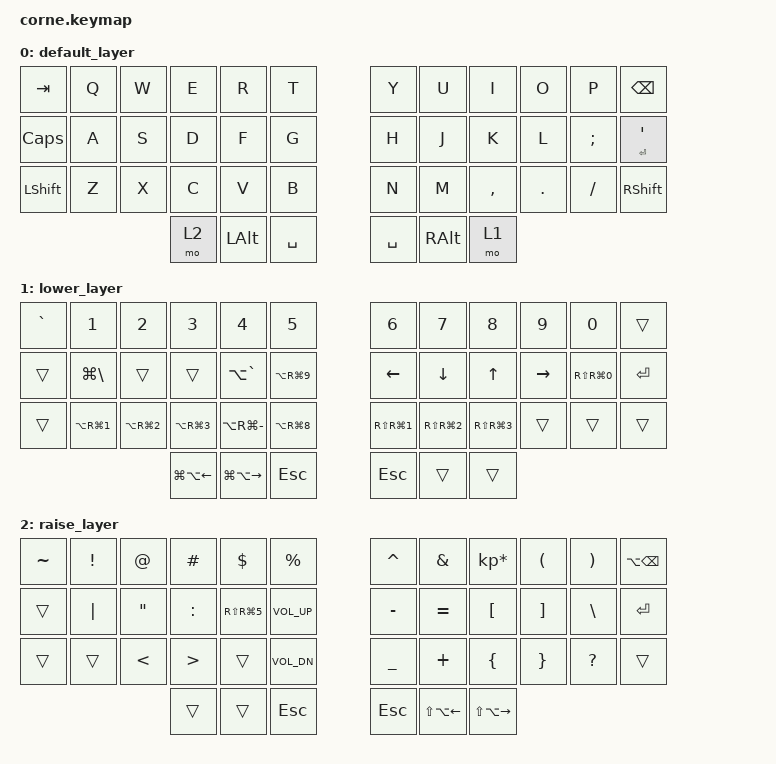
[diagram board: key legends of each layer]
/*
 * Copyright (c) 2020 The ZMK Contributors
 *
 * SPDX-License-Identifier: MIT
 */

#include <behaviors.dtsi>
#include <dt-bindings/zmk/keys.h>

/* ---------------------------------------------------------------------------
 * Chord shortcuts (yabai, driven by skhd on macOS).
 *
 * RG / RS = RIGHT cmd / RIGHT shift. Left vs right matters: skhd binds `rcmd`
 * and `rshift`, so LG / LS will NOT match these bindings.
 * ------------------------------------------------------------------------- */
#define RESIZE_UP        &kp LA(RG(N9))     // rcmd+lalt+9    window --resize top:0:-80
#define RESIZE_DOWN      &kp LA(RG(N8))     // rcmd+lalt+8    window --resize top:0:80
#define SPACE_FOCUS_1    &kp LA(RG(N1))     // cmd+alt+1      space --focus 1
#define SPACE_FOCUS_2    &kp LA(RG(N2))     // cmd+alt+2      space --focus 2
#define SPACE_FOCUS_3    &kp LA(RG(N3))     // cmd+alt+3      space --focus 3
#define TOGGLE_SPLIT     &kp LA(RG(MINUS))  // rcmd+lalt+-    window --toggle split
#define SEND_TO_SPACE_1  &kp RS(RG(N1))     // rshift+rcmd+1  window --space 1; space --focus 1
#define SEND_TO_SPACE_2  &kp RS(RG(N2))     // rshift+rcmd+2  window --space 2; space --focus 2
#define SEND_TO_SPACE_3  &kp RS(RG(N3))     // rshift+rcmd+3  window --space 3; space --focus 3
#define BALANCE_SPACE    &kp RS(RG(N0))     // rshift+rcmd+0  space --balance
#define SCREENSHOT       &kp RS(RG(N5))     // cmd+shift+5    screenshot toolbar (L2 + F)

/* Browser tab chords. These are LG / LS (LEFT cmd / shift) - the Karabiner
   caps_lock -> left_command rule is what supplies the cmd, and skhd is not
   involved, so RG / RS would be wrong here. */
#define ZOOM_FULLSCREEN  &kp LA(GRAVE)      // lalt+`         yabai zoom fullscreen
#define TAB_PREV         &kp LG(LA(LEFT))   // cmd+lalt+<-    previous browser tab
#define TAB_NEXT         &kp LG(LA(RIGHT))  // cmd+lalt+->    next browser tab
#define TAB_MOVE_LEFT    &kp LS(LA(LEFT))   // shift+lalt+<-  move browser tab left
#define TAB_MOVE_RIGHT   &kp LS(LA(RIGHT))  // shift+lalt+->  move browser tab right

/* Nothing binds &soft_off anymore, so these two tweaks are currently inert.
   They stay so the behavior is set up if you put a soft-off key back. */
&soft_off {
    hold-time-ms = <3000>; // Only turn off if the key is held for 3 seconds or longer.
};

&soft_off {
    /delete-property/ split-peripheral-off-on-press;
};

/* Only the base `'` cell uses &mt (&mt RET SQT), so this timing is free to set.
   require-prior-idle-ms = 150 makes a press right after any other key always
   tap, so in-word apostrophes (don't, it's) cannot fire Enter. */
&mt {
    flavor = "balanced";
    tapping-term-ms = <200>;
    quick-tap-ms = <150>;
    require-prior-idle-ms = <150>;
};

/* &trans is transparent, not inert: the press falls through to the next lower
   active layer and ends at the base layer. So a cell left as &trans on L1/L2
   still types its base key while the layer is held. */

/* No Bluetooth keys anywhere. The keyboard talks to one host (the Mac), so
   BT_SEL / BT_DISC / BT_CLR earned their cells back. Recovery after a host
   forget is settings_reset.uf2 + reflash both halves + re-pair. There is no
   in-keyboard way to clear a profile anymore - that is the trade. */

/ {
    keymap {
        compatible = "zmk,keymap";

        default_layer {
            // | TAB  |  Q  |  W  |  E  |  R  |  T  |   |  Y  |  U  |  I  |  O  |  P  | BKSP |
            // | CAPS |  A  |  S  |  D  |  F  |  G  |   |  H  |  J  |  K  |  L  |  ;  | '/RET|
            // | SHFT |  Z  |  X  |  C  |  V  |  B  |   |  N  |  M  |  ,  |  .  |  /  | RSFT |
            // |  L2  | LALT| SPC |   | SPC | RALT|  L1  |

            bindings = <
&kp TAB    &kp Q  &kp W  &kp E  &kp R  &kp T        &kp Y  &kp U  &kp I      &kp O    &kp P     &kp BSPC
&kp CAPS   &kp A  &kp S  &kp D  &kp F  &kp G        &kp H  &kp J  &kp K      &kp L    &kp SEMI  &mt RET SQT
&kp LSHFT  &kp Z  &kp X  &kp C  &kp V  &kp B        &kp N  &kp M  &kp COMMA  &kp DOT  &kp FSLH  &kp RSHIFT
                           &mo 2  &kp LALT  &kp SPACE    &kp SPACE  &kp RALT  &mo 1
            >;
        };

        lower_layer {
            // Numbers, remote control, yabai. Held by the RIGHT thumb; the left
            // hand does the typing. Left half never had a BT key worth keeping.
            //
            // | TAB  |  Q   |  W   |  E   |  R   |  T   |   |  Y   |  U   |  I   |  O   |  P   | BKSP |
            // |  `   |  1   |  2   |  3   |  4   |  5   |   |  6   |  7   |  8   |  9   |  0   |  BKSP|
            // | CAPS |  A   |  S   |  D   |  F   |  G   |   |  H   |  J   |  K   |  L   | ⇧⌘0  |  '/RET|
            // |  --  |  ⌘\  |  --  |  --  | zoom | ⌥⌘9  |   |  ←   |  ↓   |  ↑   |  →   |  --  |  RET  |
            // | SHFT |  Z   |  X   |  C   |  V   |  B   |   |  N   |  M   |  ,   |  .   |  /   | RSFT |
            // |  --  | ⌥⌘1  | ⌥⌘2  | ⌥⌘3  | ⌥⌘-  | ⌥⌘8  |   | ⇧⌘1  | ⇧⌘2  | ⇧⌘3  |  --  |  --  |  --   |
            // |  L2  | LALT | SPC  |   | SPC  | RALT |  L1  |
            // | tab← | tab→ | ESC  |   | ESC  |  --  |  --  |

            bindings = <
&kp GRAVE  &kp N1        &kp N2  &kp N3  &kp N4  &kp N5            &kp N6  &kp N7  &kp N8  &kp N9  &kp N0  &trans
&trans     &kp LG(BSLH)  &trans  &trans  ZOOM_FULLSCREEN  RESIZE_UP  &kp LEFT  &kp DOWN  &kp UP  &kp RIGHT  BALANCE_SPACE  &kp RET
&trans     SPACE_FOCUS_1 SPACE_FOCUS_2  SPACE_FOCUS_3  TOGGLE_SPLIT  RESIZE_DOWN  SEND_TO_SPACE_1  SEND_TO_SPACE_2  SEND_TO_SPACE_3  &trans  &trans  &trans
                                 TAB_PREV  TAB_NEXT  &kp ESC    &kp ESC  &trans  &trans
            >;
        };

        raise_layer {
            // Symbols, punctuation, media. Held by the LEFT thumb; the right
            // hand does the typing. Every shifted glyph has a literal cell here,
            // so Shift is only needed for capitals and selection.
            // Implicit-modifier keycodes (LT, GT, QUESTION, DQT, PIPE, TILDE,
            // COLON) carry their own shift internally - no physical Shift key.
            //
            // | TAB  |  Q   |  W   |  E   |  R   |  T   |   |  Y   |  U   |  I   |  O   |  P   | BKSP |
            // |  ~   |  !   |  @   |  #   |  $   |  %   |   |  ^   |  &   |  *   |  (   |  )   | ⌥BKSP|
            // | CAPS |  A   |  S   |  D   |  F   |  G   |   |  H   |  J   |  K   |  L   |  ;   |  '/RET|
            // |  --  |  |   |  "   |  :   | ⌘⇧5  | VOL+ |   |  -   |  =   |  [   |  ]   |  \   |  RET  |
            // | SHFT |  Z   |  X   |  C   |  V   |  B   |   |  N   |  M   |  ,   |  .   |  /   | RSFT |
            // |  --  |  --  |  <   |  >   |  --  | VOL- |   |  _   |  +   |  {   |  }   |  ?   |  --   |
            // |  L2  | LALT | SPC  |   | SPC  | RALT |  L1  |
            // |  --  |  --  | ESC  |   | ESC  | mv←  | mv→  |

            bindings = <
&kp TILDE  &kp EXCL  &kp AT    &kp HASH   &kp DLLR  &kp PRCNT      &kp CARET  &kp AMPS   &kp KP_MULTIPLY  &kp LPAR   &kp RPAR      &kp LA(BSPC)
&trans     &kp PIPE  &kp DQT   &kp COLON  SCREENSHOT  &kp C_VOL_UP   &kp MINUS  &kp EQUAL  &kp LBKT         &kp RBKT   &kp BSLH      &kp RET
&trans     &trans    &kp LT    &kp GT     &trans    &kp C_VOL_DN   &kp UNDER  &kp PLUS   &kp LBRC         &kp RBRC   &kp QUESTION  &trans
                                    &trans  &trans  &kp ESC        &kp ESC  TAB_MOVE_LEFT  TAB_MOVE_RIGHT
            >;
        };
    };
};
